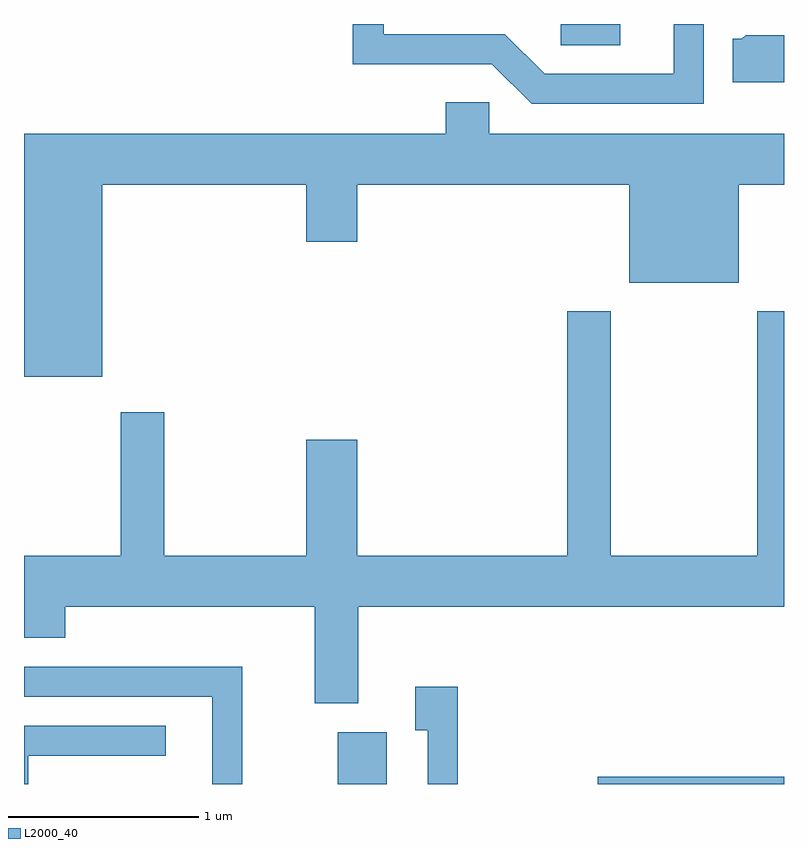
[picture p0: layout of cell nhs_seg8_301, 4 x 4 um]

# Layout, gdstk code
import gdstk
lib = gdstk.Library(unit=1e-6, precision=1e-09)
def R(c, l, rs):  # rectangles x0, y0, x1, y1
    for r in rs: c.add(gdstk.rectangle(r[:2], r[2:], *l))
def P(c, l, *ps):  # polygons
    for p in ps: c.add(gdstk.Polygon(p, *l))
L2000_40 = (2000, 40)

nhs_seg8_301 = lib.new_cell('nhs_seg8_301')
R(nhs_seg8_301, L2000_40, [(195.261,1864.342,195.519,1864.614), (196.631,1864.342,197.611,1864.379), (196.436,1868.231,196.748,1868.342)])
P(nhs_seg8_301, L2000_40, [(197.189,1868.342),(197.031,1868.342),(197.031,1868.079),(196.352,1868.079),(196.142,1868.289),(195.504,1868.289),(195.504,1868.342),(195.341,1868.342),(195.341,1868.131),(196.074,1868.131),(196.284,1867.921),(197.189,1867.921)],
  [(197.611,1868.284),(197.409,1868.284),(197.389,1868.264),(197.341,1868.264),(197.341,1868.036),(197.611,1868.036)],
  [(194.024,1867.496),(195.096,1867.496),(195.096,1867.196),(195.364,1867.196),(195.364,1867.496),(196.796,1867.496),(196.796,1866.981),(197.374,1866.981),(197.374,1867.496),(197.611,1867.496),(197.611,1867.764),(196.059,1867.764),(196.059,1867.929),(195.831,1867.929),(195.831,1867.764),(193.611,1867.764),(193.611,1866.486),(194.024,1866.486)],
  [(195.369,1865.276),(197.611,1865.276),(197.611,1866.829),(197.471,1866.829),(197.471,1865.544),(196.699,1865.544),(196.699,1866.829),(196.471,1866.829),(196.471,1865.544),(195.364,1865.544),(195.364,1866.154),(195.096,1866.154),(195.096,1865.544),(194.349,1865.544),(194.349,1866.299),(194.121,1866.299),(194.121,1865.544),(193.611,1865.544),(193.611,1865.111),(193.829,1865.111),(193.829,1865.276),(195.141,1865.276),(195.141,1864.766),(195.369,1864.766)],
  [(194.759,1864.959),(193.611,1864.959),(193.611,1864.801),(194.601,1864.801),(194.601,1864.342),(194.759,1864.342)],
  [(195.894,1864.854),(195.671,1864.854),(195.671,1864.626),(195.736,1864.626),(195.736,1864.342),(195.894,1864.342)],
  [(193.634,1864.491),(194.358,1864.491),(194.358,1864.649),(193.611,1864.649),(193.611,1864.342),(193.634,1864.342)])

lib.write_gds('nhs_seg8_301.gds')
